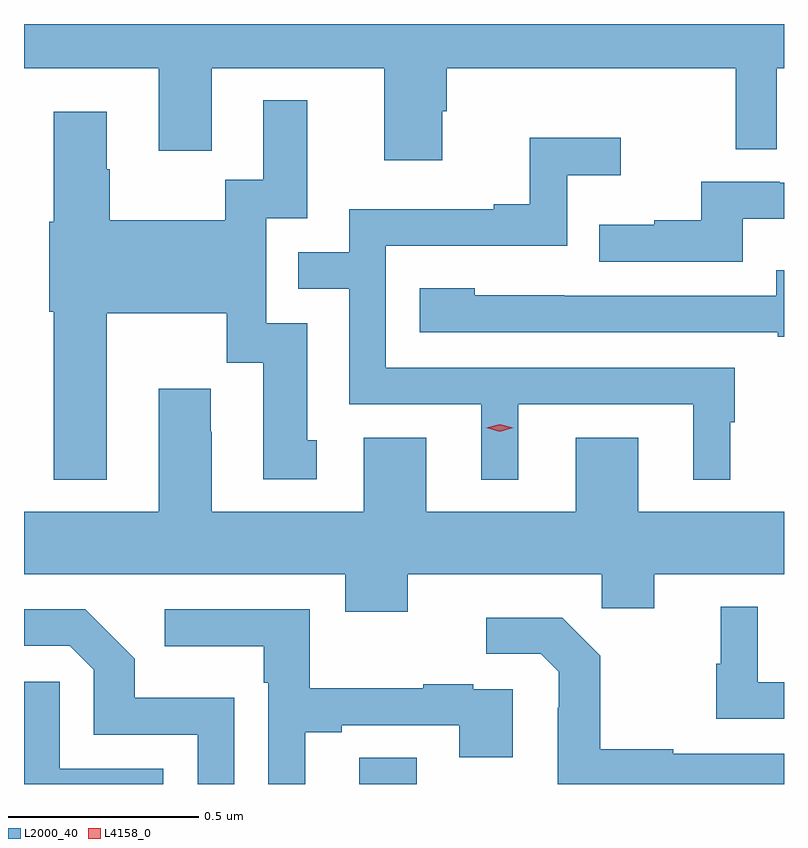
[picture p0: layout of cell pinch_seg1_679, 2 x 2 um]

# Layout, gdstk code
import gdstk
lib = gdstk.Library(unit=1e-6, precision=1e-09)
def R(c, l, rs):  # rectangles x0, y0, x1, y1
    for r in rs: c.add(gdstk.rectangle(r[:2], r[2:], *l))
def P(c, l, *ps):  # polygons
    for p in ps: c.add(gdstk.Polygon(p, *l))
L2000_40 = (2000, 40)
L4158_0 = (4158, 0)

pinch_seg1_679 = lib.new_cell('pinch_seg1_679')
R(pinch_seg1_679, L2000_40, [(841.115,577.82,841.267,577.889)])
P(pinch_seg1_679, L2000_40, [(841.333,579.591),(841.346,579.591),(841.346,579.704),(842.106,579.704),(842.106,579.49),(842.214,579.49),(842.214,579.704),(842.233,579.704),(842.233,579.82),(840.233,579.82),(840.233,579.704),(840.587,579.704),(840.587,579.486),(840.727,579.486),(840.727,579.704),(841.181,579.704),(841.181,579.462),(841.333,579.462)],
  [(840.451,579.059),(840.767,579.059),(840.767,578.928),(840.863,578.928),(840.863,578.622),(841.003,578.622),(841.003,578.724),(840.979,578.724),(840.979,579.033),(840.87,579.033),(840.87,579.309),(840.979,579.309),(840.979,579.619),(840.863,579.619),(840.863,579.41),(840.762,579.41),(840.762,579.304),(840.459,579.304),(840.459,579.438),(840.451,579.438),(840.451,579.589),(840.311,579.589),(840.311,579.3),(840.299,579.3),(840.299,579.063),(840.311,579.063),(840.311,578.621),(840.451,578.621)],
  [(841.534,578.82),(841.994,578.82),(841.994,578.621),(842.092,578.621),(842.092,578.772),(842.104,578.772),(842.104,578.916),(841.185,578.916),(841.185,579.237),(841.662,579.237),(841.662,579.422),(841.804,579.422),(841.804,579.521),(841.564,579.521),(841.564,579.346),(841.469,579.346),(841.469,579.333),(841.089,579.333),(841.089,579.219),(840.955,579.219),(840.955,579.123),(841.089,579.123),(841.089,578.82),(841.436,578.82),(841.436,578.621),(841.534,578.621)],
  [(842.125,579.308),(842.233,579.308),(842.233,579.402),(842.222,579.402),(842.222,579.405),(842.015,579.405),(842.015,579.304),(841.891,579.304),(841.891,579.292),(841.747,579.292),(841.747,579.195),(842.125,579.195)],
  [(842.233,579.172),(842.213,579.172),(842.213,579.105),(841.655,579.105),(841.655,579.106),(841.419,579.106),(841.419,579.124),(841.275,579.124),(841.275,579.009),(842.217,579.009),(842.217,578.997),(842.233,578.997)],
  [(841.243,578.372),(841.753,578.372),(841.753,578.282),(841.891,578.282),(841.891,578.372),(842.233,578.372),(842.233,578.536),(841.849,578.536),(841.849,578.731),(841.685,578.731),(841.685,578.536),(841.291,578.536),(841.291,578.731),(841.127,578.731),(841.127,578.536),(840.727,578.536),(840.727,578.747),(840.724,578.747),(840.724,578.86),(840.587,578.86),(840.587,578.536),(840.233,578.536),(840.233,578.372),(841.079,578.372),(841.079,578.273),(841.243,578.273)],
  [(842.233,578.088),(842.164,578.088),(842.164,578.287),(842.066,578.287),(842.066,578.136),(842.055,578.136),(842.055,577.992),(842.233,577.992)],
  [(840.973,577.956),(841.069,577.956),(841.069,577.974),(841.379,577.974),(841.379,577.89),(841.519,577.89),(841.519,578.07),(841.415,578.07),(841.415,578.083),(841.283,578.083),(841.283,578.072),(840.985,578.072),(840.985,578.28),(840.603,578.28),(840.603,578.183),(840.864,578.183),(840.864,578.087),(840.876,578.087),(840.876,577.82),(840.973,577.82)],
  [(840.786,578.047),(840.525,578.047),(840.525,578.15),(840.394,578.28),(840.233,578.28),(840.233,578.184),(840.354,578.184),(840.417,578.121),(840.417,577.95),(840.69,577.95),(840.69,577.82),(840.786,577.82)],
  [(842.233,577.899),(841.941,577.899),(841.941,577.912),(841.749,577.912),(841.749,578.157),(841.649,578.257),(841.449,578.257),(841.449,578.163),(841.593,578.163),(841.64,578.116),(841.64,578.021),(841.638,578.021),(841.638,577.82),(842.233,577.82)],
  [(840.6,577.86),(840.327,577.86),(840.327,578.089),(840.233,578.089),(840.233,577.82),(840.6,577.82)])
P(pinch_seg1_679, L4158_0, [(841.485,578.747),(841.449,578.757),(841.449,578.757),(841.449,578.757),(841.485,578.767),(841.521,578.757),(841.521,578.757),(841.521,578.757)])

lib.write_gds('pinch_seg1_679.gds')
